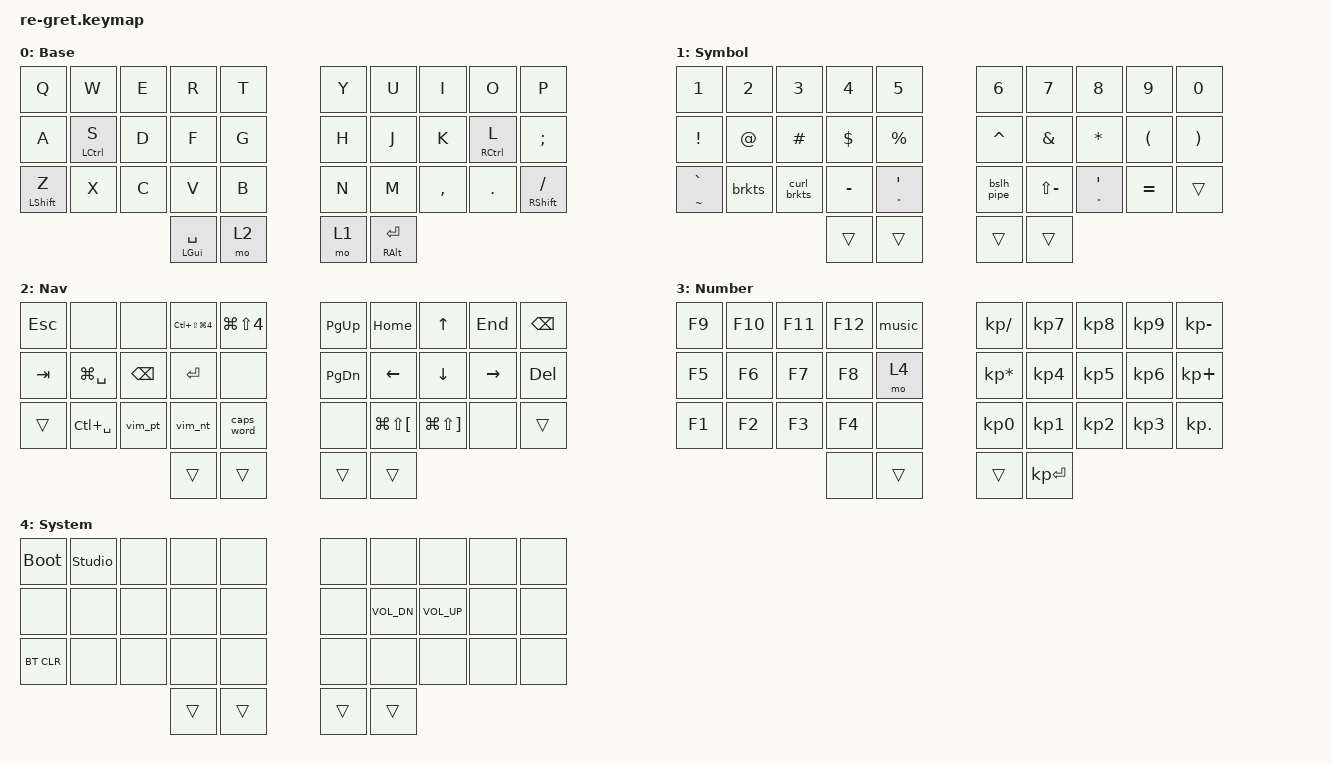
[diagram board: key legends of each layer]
#include <behaviors.dtsi>
#include <dt-bindings/zmk/bt.h>
#include <dt-bindings/zmk/keys.h>

#define SYM_L 1
#define NAV_L 2
#define NUM_L 3
#define SYS_L 4

/ {
    behaviors {
        brkts: brackets {
            compatible = "zmk,behavior-tap-dance";
            label = "BRKTS";
            #binding-cells = <0>;
            bindings = <&kp LBKT>, <&kp RBKT>;

            tapping-term-ms = <180>;
        };

        curl_brkts: curl_brkts {
            compatible = "zmk,behavior-tap-dance";
            label = "CURL_BRKTS";
            #binding-cells = <0>;
            bindings = <&kp LBRC>, <&kp RBRC>;

            tapping-term-ms = <180>;
        };

        ht: ht {
            compatible = "zmk,behavior-hold-tap";
            label = "HT";
            bindings = <&kp>, <&kp>;

            #binding-cells = <2>;
            tapping-term-ms = <165>;
            flavor = "balanced";
            quick-tap-ms = <200>;
            require-prior-idle-ms = <50>;
        };

        bslh_pipe: bslh_pipe {
            compatible = "zmk,behavior-tap-dance";
            label = "BSLH_PIPE";
            #binding-cells = <0>;
            bindings = <&kp BSLH>, <&kp PIPE>;

            tapping-term-ms = <200>;
        };

        music: music {
            compatible = "zmk,behavior-tap-dance";
            label = "MUSIC";
            #binding-cells = <0>;
            bindings = <&kp C_PLAY_PAUSE>, <&kp C_NEXT>, <&kp C_PREV>;
        };
    };

    conditional_layers {
        compatible = "zmk,conditional-layers";

        tri_layer {
            if-layers = <1 2>;
            then-layer = <3>;
        };
    };

    #define COMBO_IDLE 175

    combos {
        compatible = "zmk,combos";

        // Activate system layer on inner thumbs

        bsp {
            key-positions = <26 27>;
            bindings = <&kp BSPC>;
            require-prior-idle-ms = <COMBO_IDLE>;
        };

        bootloader {
            bindings = <&bootloader>;
            key-positions = <0 9>;
        };

        // Brackets and parens
    };

    macros {
        vim_nt: vim_nt {
            compatible = "zmk,behavior-macro";
            #binding-cells = <0>;
            bindings = <&kp G &kp T>;
            label = "VIM_NT";
        };

        vim_pt: vim_pt {
            compatible = "zmk,behavior-macro";
            #binding-cells = <0>;
            bindings = <&kp G &kp LS(T)>;
            label = "VIM_PT";
        };
    };

    keymap {
        compatible = "zmk,keymap";

        default_layer {
            display-name = "Base";
            bindings = <
&kp Q        &kp W        &kp E  &kp R           &kp T  &kp Y  &kp U           &kp I      &kp O        &kp P
&kp A        &ht LCTRL S  &kp D  &kp F           &kp G  &kp H  &kp J           &kp K      &ht RCTRL L  &kp SEMI
&ht LSHFT Z  &kp X        &kp C  &kp V           &kp B  &kp N  &kp M           &kp COMMA  &kp DOT      &ht RSHFT FSLH
                                 &ht LGUI SPACE  &mo 2  &mo 1  &ht RALT ENTER
            >;
        };

        sym_layer {
            display-name = "Symbol";
            bindings = <
&kp NUMBER_1     &kp NUMBER_2  &kp NUMBER_3  &kp NUMBER_4  &kp NUMBER_5  &kp NUMBER_6  &kp NUMBER_7   &kp NUMBER_8  &kp NUMBER_9  &kp NUMBER_0
&kp EXCL         &kp AT        &kp HASH      &kp DLLR      &kp PRCNT     &kp CARET     &kp AMPS       &kp STAR      &kp LPAR      &kp RPAR
&ht TILDE GRAVE  &brkts        &curl_brkts   &kp MINUS     &ht DQT SQT   &bslh_pipe    &kp LS(MINUS)  &ht DQT SQT   &kp EQUAL     &trans
                                             &trans        &trans        &trans        &trans
            >;
        };

        nav_layer {
            display-name = "Nav";
            bindings = <
&kp ESC  &none          &none          &kp LC(LS(LG(NUMBER_4)))  &kp LG(LS(NUMBER_4))  &kp PG_UP  &kp HOME          &kp UP            &kp END    &kp BACKSPACE
&kp TAB  &kp LG(SPACE)  &kp BACKSPACE  &kp ENTER                 &none                 &kp PG_DN  &kp LEFT          &kp DOWN          &kp RIGHT  &kp DEL
&trans   &kp LC(SPACE)  &vim_pt        &vim_nt                   &caps_word            &none      &kp LG(LS(LBKT))  &kp LG(LS(RBKT))  &none      &trans
                                       &trans                    &trans                &trans     &trans
            >;
        };

        num_layer {
            display-name = "Number";
            bindings = <
&kp F9  &kp F10  &kp F11  &kp F12  &music  &kp KP_DIVIDE    &kp KP_N7     &kp KP_N8  &kp KP_N9        &kp KP_MINUS
&kp F5  &kp F6   &kp F7   &kp F8   &mo 4   &kp KP_ASTERISK  &kp KP_N4     &kp KP_N5  &kp KP_NUMBER_6  &kp KP_PLUS
&kp F1  &kp F2   &kp F3   &kp F4   &none   &kp KP_NUMBER_0  &kp KP_N1     &kp KP_N2  &kp KP_N3        &kp KP_DOT
                          &none    &trans  &trans           &kp KP_ENTER
            >;
        };

        system_layer {
            display-name = "System";
            bindings = <
&bootloader  &studio_unlock  &none  &none   &none   &none   &none         &none         &none  &none
&none        &none           &none  &none   &none   &none   &kp C_VOL_DN  &kp C_VOL_UP  &none  &none
&bt BT_CLR   &none           &none  &none   &none   &none   &none         &none         &none  &none
                                    &trans  &trans  &trans  &trans
            >;
        };
    };
};
